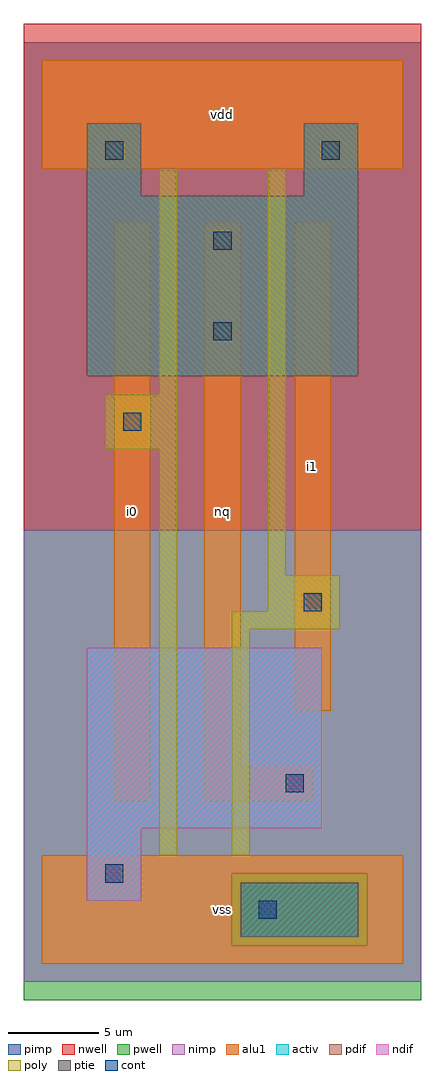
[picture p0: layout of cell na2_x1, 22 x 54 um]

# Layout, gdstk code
import gdstk
lib = gdstk.Library(unit=1e-6, precision=1e-09)
def R(c, l, rs):  # rectangles x0, y0, x1, y1
    for r in rs: c.add(gdstk.rectangle(r[:2], r[2:], *l))
ndif = (3, 0)
pdif = (4, 0)
ptie = (6, 0)
cont = (25, 0)
pwell = (41, 0)
nwell = (42, 0)
activ = (43, 0)
pimp = (44, 0)
nimp = (45, 0)
poly = (46, 0)
alu1 = (49, 0)

na2_x1 = lib.new_cell('na2_x1')
R(na2_x1, ndif, [(2.5,3.5,5.5,7.5), (2.5,7.5,15.5,17.5)])
R(na2_x1, pdif, [(2.5,32.5,17.5,42.5), (2.5,42.5,5.5,46.5), (14.5,42.5,17.5,46.5)])
R(na2_x1, ptie, [(11,1.5,17.5,4.5)])
R(na2_x1, cont, [(12,2.5,13,3.5), (3.5,4.5,4.5,5.5), (13.5,9.5,14.5,10.5), (14.5,19.5,15.5,20.5), (4.5,29.5,5.5,30.5), (9.5,34.5,10.5,35.5), (9.5,39.5,10.5,40.5), (3.5,44.5,4.5,45.5), (15.5,44.5,16.5,45.5)])
R(na2_x1, pwell, [(-1,-2,21,24)])
R(na2_x1, nwell, [(-1,24,21,52)])
R(na2_x1, activ, [(11,1.5,17.5,4.5), (2.5,3.5,5.5,7.5), (2.5,7.5,15.5,17.5), (2.5,32.5,17.5,42.5), (2.5,42.5,5.5,46.5), (14.5,42.5,17.5,46.5)])
R(na2_x1, pimp, [(10.5,1,18,5), (-1,24,21,51)])
R(na2_x1, nimp, [(-1,-1,21,1), (-1,1,10.5,5), (18,1,21,5), (-1,5,21,24)])
R(na2_x1, poly, [(6.5,6,7.5,28.5), (10.5,6,11.5,18.5), (10.5,18.5,16.5,19.5), (12.5,19.5,16.5,21.5), (12.5,21.5,13.5,44), (3.5,28.5,7.5,31.5), (6.5,31.5,7.5,44)])
R(na2_x1, alu1, [(0,0,20,6), (4,9,6,41), (9,9,15,11), (9,11,11,41), (14,14,16,41), (0,44,20,50)])
na2_x1.add(gdstk.Label('i0', (5,25), layer=49, texttype=0))
na2_x1.add(gdstk.Label('vss', (10,3), layer=49, texttype=0))
na2_x1.add(gdstk.Label('nq', (10,25), layer=49, texttype=0))
na2_x1.add(gdstk.Label('vdd', (10,47), layer=49, texttype=0))
na2_x1.add(gdstk.Label('i1', (15,27.5), layer=49, texttype=0))

lib.write_gds('na2_x1.gds')
